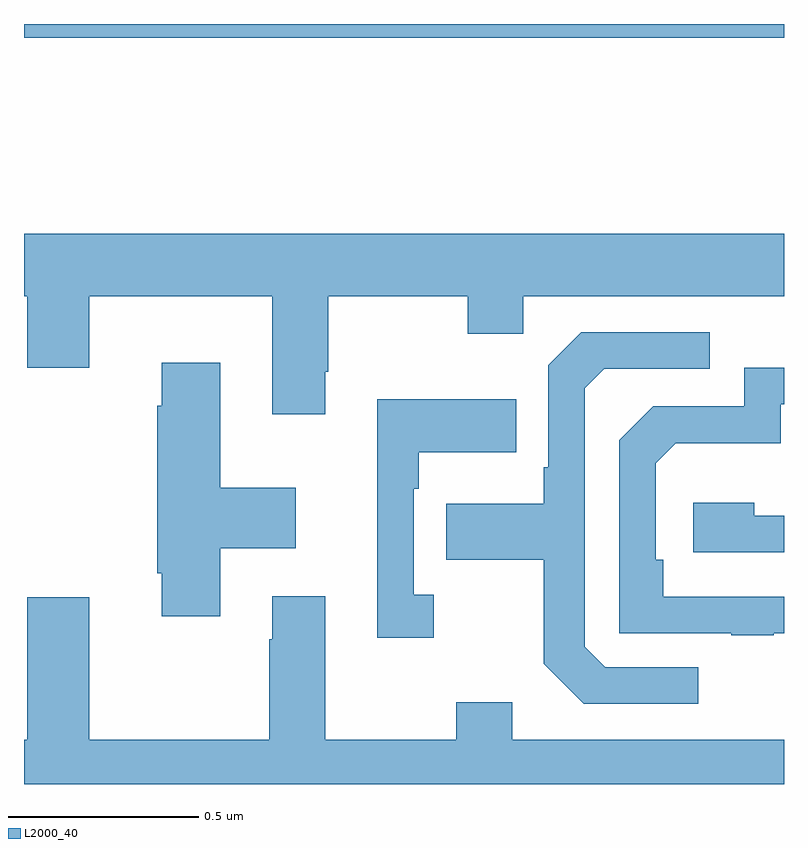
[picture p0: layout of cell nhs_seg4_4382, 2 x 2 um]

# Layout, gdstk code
import gdstk
lib = gdstk.Library(unit=1e-6, precision=1e-09)
def R(c, l, rs):  # rectangles x0, y0, x1, y1
    for r in rs: c.add(gdstk.rectangle(r[:2], r[2:], *l))
def P(c, l, *ps):  # polygons
    for p in ps: c.add(gdstk.Polygon(p, *l))
L2000_40 = (2000, 40)

nhs_seg4_4382 = lib.new_cell('nhs_seg4_4382')
R(nhs_seg4_4382, L2000_40, [(165,766.864,167,766.9)])
P(nhs_seg4_4382, L2000_40, [(165.793,765.985),(165.801,765.985),(165.801,766.184),(166.168,766.184),(166.168,766.085),(166.314,766.085),(166.314,766.184),(167,766.184),(167,766.348),(165,766.348),(165,766.184),(165.008,766.184),(165.008,765.996),(165.172,765.996),(165.172,766.184),(165.653,766.184),(165.653,765.873),(165.793,765.873)],
  [(166.774,765.207),(166.53,765.207),(166.476,765.261),(166.476,765.942),(166.527,765.993),(166.804,765.993),(166.804,766.089),(166.467,766.089),(166.38,766.002),(166.38,765.733),(166.368,765.733),(166.368,765.637),(166.111,765.637),(166.111,765.49),(166.368,765.49),(166.368,765.217),(166.473,765.111),(166.774,765.111)],
  [(165.517,765.521),(165.715,765.521),(165.715,765.679),(165.517,765.679),(165.517,766.009),(165.362,766.009),(165.362,765.896),(165.35,765.896),(165.35,765.454),(165.362,765.454),(165.362,765.342),(165.517,765.342)],
  [(166.973,765.297),(167,765.297),(167,765.393),(166.682,765.393),(166.682,765.49),(166.662,765.49),(166.662,765.744),(166.715,765.797),(166.992,765.797),(166.992,765.9),(167,765.9),(167,765.996),(166.896,765.996),(166.896,765.894),(166.656,765.894),(166.566,765.804),(166.566,765.297),(166.861,765.297),(166.861,765.292),(166.973,765.292)],
  [(166.078,765.398),(166.026,765.398),(166.026,765.677),(166.039,765.677),(166.039,765.773),(166.295,765.773),(166.295,765.913),(165.929,765.913),(165.929,765.285),(166.078,765.285)],
  [(167,765.606),(166.922,765.606),(166.922,765.64),(166.761,765.64),(166.761,765.51),(167,765.51)],
  [(167,765.016),(166.285,765.016),(166.285,765.115),(166.138,765.115),(166.138,765.016),(165.793,765.016),(165.793,765.394),(165.653,765.394),(165.653,765.281),(165.646,765.281),(165.646,765.016),(165.172,765.016),(165.172,765.391),(165.008,765.391),(165.008,765.016),(165,765.016),(165,764.9),(167,764.9)])

lib.write_gds('nhs_seg4_4382.gds')
